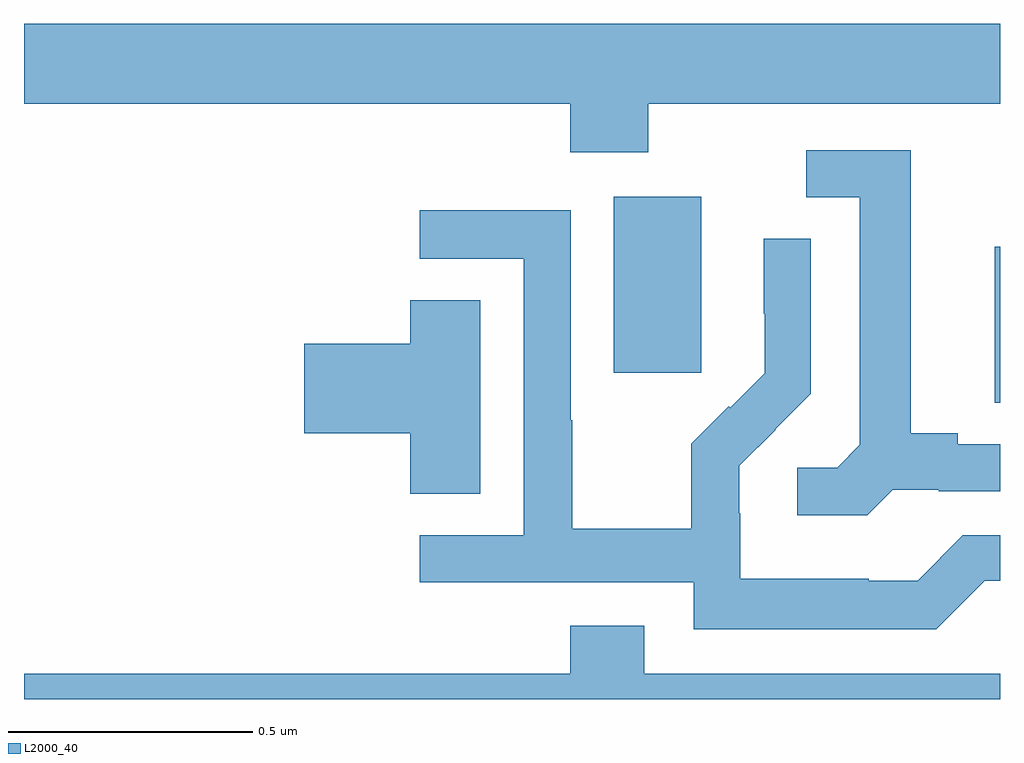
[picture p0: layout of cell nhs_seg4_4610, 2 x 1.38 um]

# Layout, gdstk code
import gdstk
lib = gdstk.Library(unit=1e-6, precision=1e-09)
def R(c, l, rs):  # rectangles x0, y0, x1, y1
    for r in rs: c.add(gdstk.rectangle(r[:2], r[2:], *l))
def P(c, l, *ps):  # polygons
    for p in ps: c.add(gdstk.Polygon(p, *l))
L2000_40 = (2000, 40)

nhs_seg4_4610 = lib.new_cell('nhs_seg4_4610')
R(nhs_seg4_4610, L2000_40, [(168.989,829.507,169,829.827), (168.209,829.569,168.388,829.93)])
P(nhs_seg4_4610, L2000_40, [(168.279,830.12),(169,830.12),(169,830.284),(167,830.284),(167,830.12),(168.119,830.12),(168.119,830.021),(168.279,830.021)],
  [(168.78,829.329),(168.874,829.329),(168.874,829.326),(169,829.326),(169,829.422),(168.913,829.422),(168.913,829.445),(168.817,829.445),(168.817,830.025),(168.603,830.025),(168.603,829.929),(168.713,829.929),(168.713,829.421),(168.666,829.374),(168.585,829.374),(168.585,829.277),(168.728,829.277)],
  [(168.969,829.143),(169,829.143),(169,829.236),(168.924,829.236),(168.831,829.143),(168.731,829.143),(168.731,829.147),(168.468,829.147),(168.468,829.281),(168.466,829.281),(168.466,829.378),(168.54,829.452),(168.539,829.453),(168.612,829.526),(168.612,829.844),(168.516,829.844),(168.516,829.69),(168.518,829.69),(168.518,829.568),(168.447,829.497),(168.444,829.5),(168.367,829.423),(168.367,829.249),(168.123,829.249),(168.123,829.472),(168.12,829.472),(168.12,829.902),(167.811,829.902),(167.811,829.803),(168.024,829.803),(168.024,829.236),(167.811,829.236),(167.811,829.14),(168.372,829.14),(168.372,829.043),(168.869,829.043)],
  [(167.935,829.718),(167.792,829.718),(167.792,829.628),(167.574,829.628),(167.574,829.445),(167.792,829.445),(167.792,829.321),(167.935,829.321)],
  [(169,828.952),(168.271,828.952),(168.271,829.051),(168.119,829.051),(168.119,828.952),(167,828.952),(167,828.9),(169,828.9)])

lib.write_gds('nhs_seg4_4610.gds')
